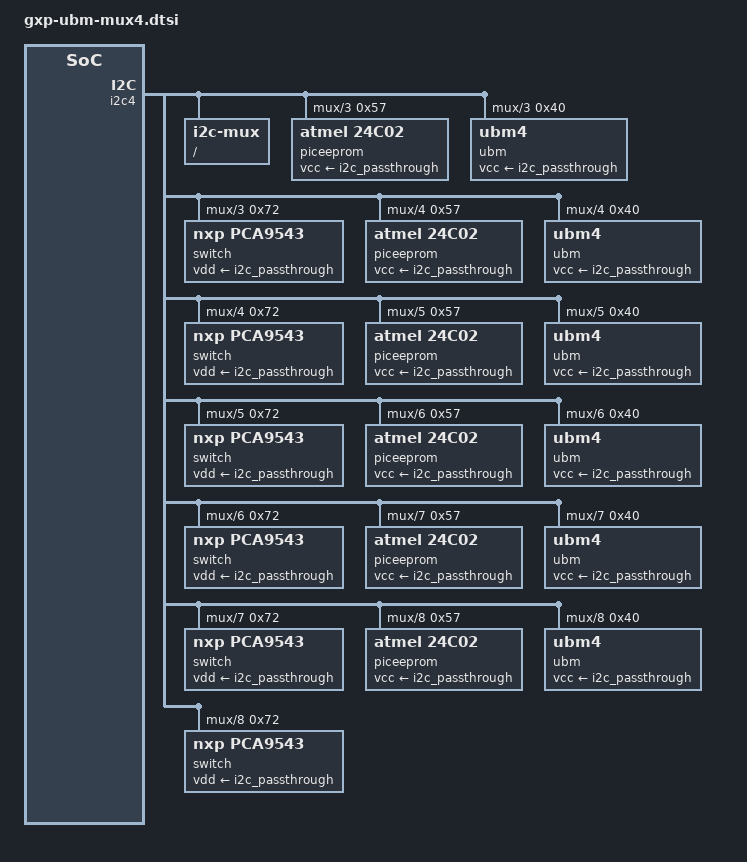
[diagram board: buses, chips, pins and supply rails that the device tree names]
// SPDX-License-Identifier: GPL-2.0-only
	i2cmux@4 {
		compatible = "i2c-mux";
		i2c-parent = <&i2c4>;
		mux-controls = <&i2c_mux_ctrl 4>;
		#address-cells = <1>;
		#size-cells = <0>;

		i2c4@3 {
			reg = <3>;
			#address-cells = <1>;
			#size-cells = <0>;

			piceeprom@57 {
				compatible = "atmel,24c02";
				reg = <0x57>;
				vcc-supply = <&i2c_passthrough>;
			};

			ubm@40 {
				compatible = "ubm4";
				reg = <0x40>;
				vcc-supply = <&i2c_passthrough>;
			};

			switch@72 {
				compatible = "nxp,pca9543";
				reg = <0x72>;
				#address-cells = <1>;
				#size-cells = <0>;
				vdd-supply = <&i2c_passthrough>;
				i2c-mux-idle-disconnect;

				i2c@0 {
					reg = <0>;
					#address-cells = <1>;
					#size-cells = <0>;
				};

				i2c@1 {
					reg = <1>;
					#address-cells = <1>;
					#size-cells = <0>;
				};
			};
		};

		i2c4@4 {
			reg = <4>;
			#address-cells = <1>;
			#size-cells = <0>;

			piceeprom@57 {
				compatible = "atmel,24c02";
				reg = <0x57>;
				vcc-supply = <&i2c_passthrough>;
			};

			ubm@40 {
				compatible = "ubm4";
				reg = <0x40>;
				vcc-supply = <&i2c_passthrough>;
			};

			switch@72 {
				compatible = "nxp,pca9543";
				reg = <0x72>;
				#address-cells = <1>;
				#size-cells = <0>;
				vdd-supply = <&i2c_passthrough>;
				i2c-mux-idle-disconnect;

				i2c@0 {
					reg = <0>;
					#address-cells = <1>;
					#size-cells = <0>;
				};

				i2c@1 {
					reg = <1>;
					#address-cells = <1>;
					#size-cells = <0>;
				};
			};
		};

		i2c4@5 {
			reg = <5>;
			#address-cells = <1>;
			#size-cells = <0>;

			piceeprom@57 {
				compatible = "atmel,24c02";
				reg = <0x57>;
				vcc-supply = <&i2c_passthrough>;
			};

			ubm@40 {
				compatible = "ubm4";
				reg = <0x40>;
				vcc-supply = <&i2c_passthrough>;
			};

			switch@72 {
				compatible = "nxp,pca9543";
				reg = <0x72>;
				#address-cells = <1>;
				#size-cells = <0>;
				vdd-supply = <&i2c_passthrough>;
				i2c-mux-idle-disconnect;

				i2c@0 {
					reg = <0>;
					#address-cells = <1>;
					#size-cells = <0>;
				};

				i2c@1 {
					reg = <1>;
					#address-cells = <1>;
					#size-cells = <0>;
				};
			};
		};

		i2c4@6 {
			reg = <6>;
			#address-cells = <1>;
			#size-cells = <0>;

			piceeprom@57 {
				compatible = "atmel,24c02";
				reg = <0x57>;
				vcc-supply = <&i2c_passthrough>;
			};

			ubm@40 {
				compatible = "ubm4";
				reg = <0x40>;
				vcc-supply = <&i2c_passthrough>;
			};

			switch@72 {
				compatible = "nxp,pca9543";
				reg = <0x72>;
				#address-cells = <1>;
				#size-cells = <0>;
				vdd-supply = <&i2c_passthrough>;
				i2c-mux-idle-disconnect;

				i2c@0 {
					reg = <0>;
					#address-cells = <1>;
					#size-cells = <0>;
				};

				i2c@1 {
					reg = <1>;
					#address-cells = <1>;
					#size-cells = <0>;
				};
			};
		};

		i2c4@7 {
			reg = <7>;
			#address-cells = <1>;
			#size-cells = <0>;

			piceeprom@57 {
				compatible = "atmel,24c02";
				reg = <0x57>;
				vcc-supply = <&i2c_passthrough>;
			};

			ubm@40 {
				compatible = "ubm4";
				reg = <0x40>;
				vcc-supply = <&i2c_passthrough>;
			};

			switch@72 {
				compatible = "nxp,pca9543";
				reg = <0x72>;
				#address-cells = <1>;
				#size-cells = <0>;
				vdd-supply = <&i2c_passthrough>;
				i2c-mux-idle-disconnect;

				i2c@0 {
					reg = <0>;
					#address-cells = <1>;
					#size-cells = <0>;
				};

				i2c@1 {
					reg = <1>;
					#address-cells = <1>;
					#size-cells = <0>;
				};
			};
		};

		i2c4@8 {
			reg = <8>;
			#address-cells = <1>;
			#size-cells = <0>;

			piceeprom@57 {
				compatible = "atmel,24c02";
				reg = <0x57>;
				vcc-supply = <&i2c_passthrough>;
			};

			ubm@40 {
				compatible = "ubm4";
				reg = <0x40>;
				vcc-supply = <&i2c_passthrough>;
			};

			switch@72 {
				compatible = "nxp,pca9543";
				reg = <0x72>;
				#address-cells = <1>;
				#size-cells = <0>;
				vdd-supply = <&i2c_passthrough>;
				i2c-mux-idle-disconnect;

				i2c@0 {
					reg = <0>;
					#address-cells = <1>;
					#size-cells = <0>;
				};

				i2c@1 {
					reg = <1>;
					#address-cells = <1>;
					#size-cells = <0>;
				};
			};
		};
	};
